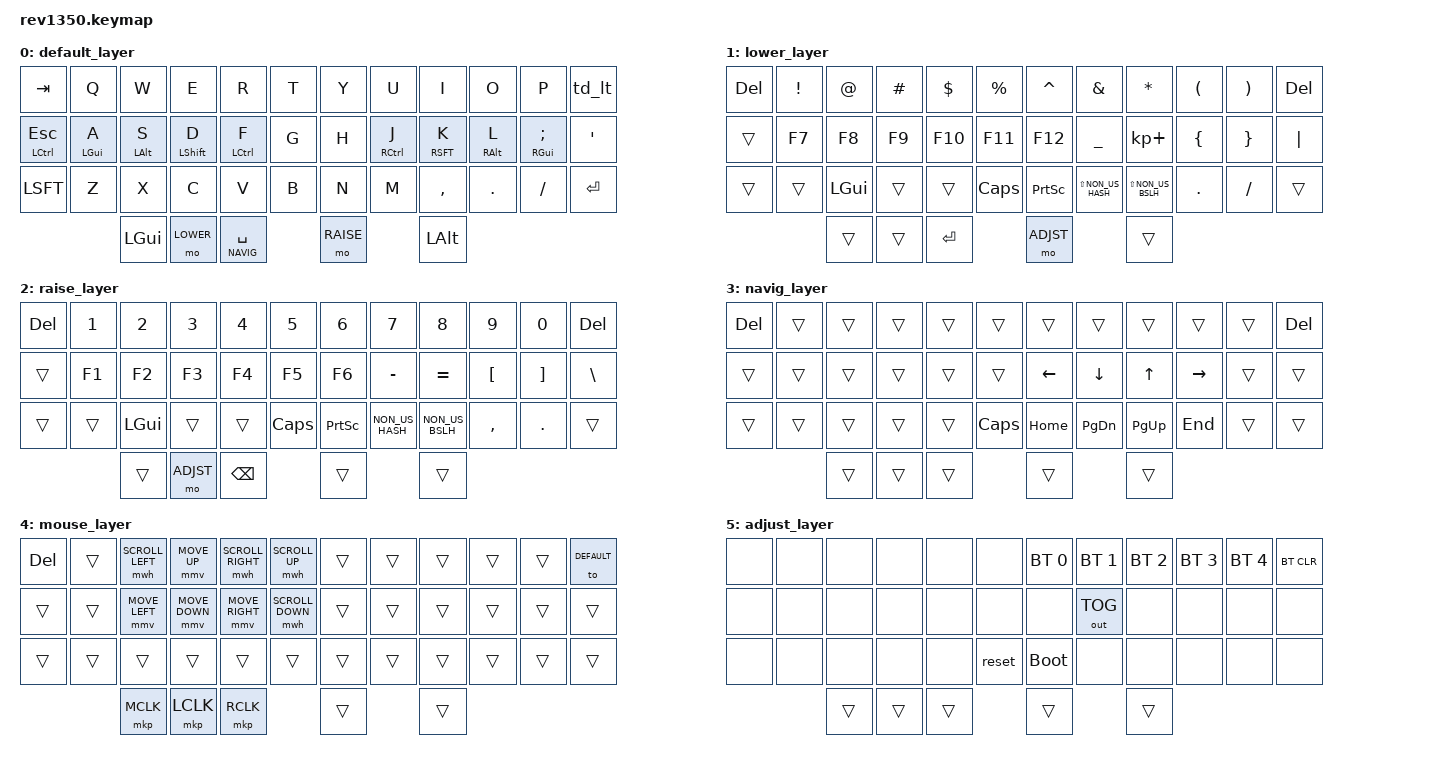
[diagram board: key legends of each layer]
/*
 * Copyright (c) 2020 The ZMK Contributors
 *
 * SPDX-License-Identifier: MIT
 */

#include <behaviors.dtsi>
#include <dt-bindings/zmk/keys.h>
#include <dt-bindings/zmk/bt.h>
#include <dt-bindings/zmk/rgb.h>
#include <dt-bindings/zmk/mouse.h>
#include <dt-bindings/zmk/outputs.h>

#define DEFAULT 0
#define LOWER   1
#define RAISE   2
#define NAVIG   3
#define MOUSE   4
#define ADJST   5

&lt {
    flavor = "tap-preferred";
    quick_tap_ms = <200>;
    tapping-term-ms = <150>;
};

/ {
    behaviors {
        hm: homerow_mods {
            compatible = "zmk,behavior-hold-tap";
            label = "HOMEROW_MODS";
            #binding-cells = <2>;
            tapping-term-ms = <150>;
            quick_tap_ms = <200>;
            flavor = "tap-preferred";
            bindings = <&kp>, <&kp>;
        };
        td_lt: tap_dance_layer_tap {
            compatible = "zmk,behavior-tap-dance";
            label = "TAP_DANCE_LYR_TAP";
            #binding-cells = <0>;
            tapping-term-ms = <150>;
            bindings = <&lt MOUSE BSPC>, <&to MOUSE>;
        };	
    };

        keymap {
                compatible = "zmk,keymap";

                default_layer {
                       bindings = <
   &kp TAB      &kp Q       &kp W      &kp E       &kp R       &kp T   &kp Y &kp U       &kp I      &kp O        &kp P         &td_lt
   &mt LCTL ESC &hm LGUI A  &hm LALT S &hm LSHFT D &hm LCTRL F &kp G   &kp H &hm RCTL J  &hm RSFT K &hm RALT L   &hm RGUI SEMI &kp SQT
   &kp LSFT     &kp Z       &kp X      &kp C       &kp V       &kp B   &kp N &kp M       &kp COMMA  &kp DOT      &kp FSLH      &kp RET
                                &kp LGUI   &mo LOWER    &lt NAVIG SPACE   &mo RAISE    &kp LALT
                        >;
                };

                lower_layer {
                        bindings = <
   &kp DEL &kp EXCL &kp AT   &kp HASH &kp DLLR &kp PRCNT      &kp CARET &kp AMPS  &kp ASTRK   &kp LPAR  &kp RPAR  &kp DEL
   &trans  &kp F7   &kp F8   &kp F9   &kp F10  &kp F11        &kp F12   &kp UNDER &kp KP_PLUS &kp LBRC  &kp RBRC  &kp PIPE
   &trans  &trans   &kp LGUI &trans   &trans   &kp CLCK       &kp PSCRN &kp LS(NON_US_HASH) &kp LS(NON_US_BSLH) &kp DOT &kp SLASH &trans
                                   &trans    &trans    &kp RET    &mo ADJST    &trans
                        >;
                };

                raise_layer {
                        bindings = <
   &kp DEL &kp N1   &kp N2   &kp N3   &kp N4   &kp N5         &kp N6    &kp N7    &kp N8    &kp N9    &kp N0    &kp DEL
   &trans  &kp F1   &kp F2   &kp F3   &kp F4   &kp F5         &kp F6    &kp MINUS &kp EQUAL &kp LBKT  &kp RBKT  &kp BSLH
   &trans  &trans   &kp LGUI &trans   &trans   &kp CLCK       &kp PSCRN &kp NON_US_HASH &kp NON_US_BSLH &kp COMMA &kp DOT &trans
                                   &trans  &mo ADJST &kp BSPC &trans  &trans
                        >;
                };

                navig_layer {
                        bindings = <
   &kp DEL &trans  &trans   &trans   &trans   &trans      &trans   &trans    &trans    &trans    &trans   &kp DEL
   &trans  &trans  &trans   &trans   &trans   &trans      &kp LEFT &kp DOWN  &kp UP    &kp RIGHT &trans   &trans
   &trans  &trans  &trans   &trans   &trans   &kp CLCK    &kp HOME &kp PG_DN &kp PG_UP &kp END   &trans   &trans
                                   &trans   &trans   &trans   &trans   &trans
                        >;
                };

                mouse_layer {
                        bindings = <
   &kp DEL &trans &mwh SCROLL_LEFT &mmv MOVE_UP   &mwh SCROLL_RIGHT &mwh SCROLL_UP   &trans    &trans    &trans    &trans    &trans    &to DEFAULT
   &trans  &trans &mmv MOVE_LEFT   &mmv MOVE_DOWN &mmv MOVE_RIGHT   &mwh SCROLL_DOWN &trans    &trans    &trans    &trans    &trans    &trans
   &trans  &trans &trans           &trans         &trans            &trans           &trans    &trans    &trans    &trans    &trans    &trans
                                  &mkp MCLK  &mkp LCLK  &mkp RCLK   &trans   &trans
                        >;
                };

                adjust_layer {
                        bindings = <
   &none   &none   &none   &none   &none   &none       &bt BT_SEL 0 &bt BT_SEL 1 &bt BT_SEL 2 &bt BT_SEL 3 &bt BT_SEL 4 &bt BT_CLR
   &none   &none   &none   &none   &none   &none       &none        &out OUT_TOG &none        &none        &none        &none
   &none   &none   &none   &none   &none   &reset      &bootloader  &none        &none        &none        &none        &none
                       &trans      &trans       &trans        &trans      &trans
                        >;
                };
        };
};
